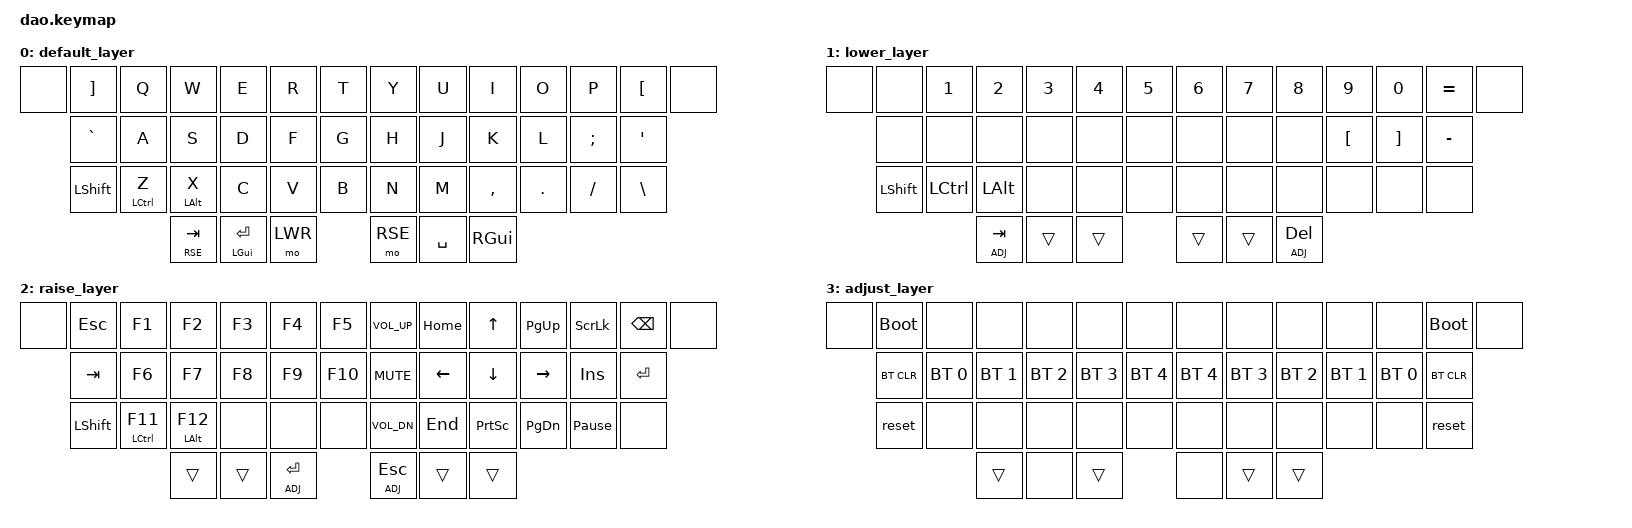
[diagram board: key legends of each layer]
/*
 * Copyright (c) 2021 Rafael Yumagulov
 *
 * SPDX-License-Identifier: MIT
 */

#include <behaviors.dtsi>
#include <dt-bindings/zmk/keys.h>
#include <dt-bindings/zmk/bt.h>

#define DEF 0
#define LWR 1
#define RSE 2
#define ADJ 3

&lt { quick_tap_ms = <200>; };
&mt { quick_tap_ms = <200>; };

&kscan0 {
    debounce-press-ms = <3>;
    debounce-release-ms = <3>;
};

/ {
        keymap {
                compatible = "zmk,keymap";

                default_layer {
                bindings = <
  &none   &kp RBKT          &kp Q       &kp W      &kp E   &kp R   &kp T         &kp Y   &kp U     &kp I     &kp O     &kp P           &kp LBKT        &none
          &kp GRAVE         &kp A       &kp S      &kp D   &kp F   &kp G         &kp H   &kp J     &kp K     &kp L     &kp SEMI        &kp SQT
          &kp LSHFT         &mt LCTRL Z &mt LALT X &kp C   &kp V   &kp B         &kp N   &kp M     &kp COMMA &kp DOT   &kp FSLH        &kp BSLH
                                       &lt RSE TAB &mt LGUI RET    &mo LWR       &mo RSE &kp SPACE &kp RGUI
                >;
                };
                

                lower_layer {
                bindings = <
  &none   &none        &kp N1    &kp N2       &kp N3    &kp N4    &kp N5          &kp N6      &kp N7    &kp N8    &kp N9    &kp N0    &kp EQUAL    &none
          &none        &none     &none        &none     &none     &none           &none       &none     &none     &kp LBKT  &kp RBKT  &kp MINUS
          &kp LSHFT    &kp LCTRL &kp LALT     &none     &none     &none           &none       &none     &none     &none     &none     &none          
                                           &lt ADJ TAB  &trans    &trans          &trans      &trans    &lt ADJ DEL
                >;
                };

                raise_layer {
                bindings = <
  &none   &kp ESC         &kp F1        &kp F2       &kp F3       &kp F4   &kp F5      &kp C_VOL_UP   &kp HOME   &kp UP     &kp PG_UP   &kp SLCK          &kp BSPC  &none
          &kp TAB         &kp F6        &kp F7       &kp F8       &kp F9   &kp F10     &kp C_MUTE     &kp LEFT   &kp DOWN   &kp RIGHT   &kp INS           &kp RET
          &kp LSHFT       &mt LCTRL F11 &mt LALT F12 &none        &none    &none       &kp C_VOL_DN   &kp END    &kp PSCRN  &kp PG_DN   &kp PAUSE_BREAK   &none
                                             &trans       &trans   &lt ADJ RET &lt ADJ ESC    &trans     &trans
                >;
                };
                adjust_layer {
                bindings = <
  &none   &bootloader     &none          &none        &none         &none         &none          &none          &none         &none       &none      &none  &bootloader   &none
          &bt BT_CLR      &bt BT_SEL 0   &bt BT_SEL 1 &bt BT_SEL 2  &bt BT_SEL 3  &bt BT_SEL 4   &bt BT_SEL 4   &bt BT_SEL 3  &bt BT_SEL 2   &bt BT_SEL 1   &bt BT_SEL 0   &bt BT_CLR
          &reset        &none          &none          &none          &none          &none          &none          &none          &none          &none          &none          &reset
                                                      &trans         &none          &trans         &none          &trans         &trans
                >;
                };
        };
};
